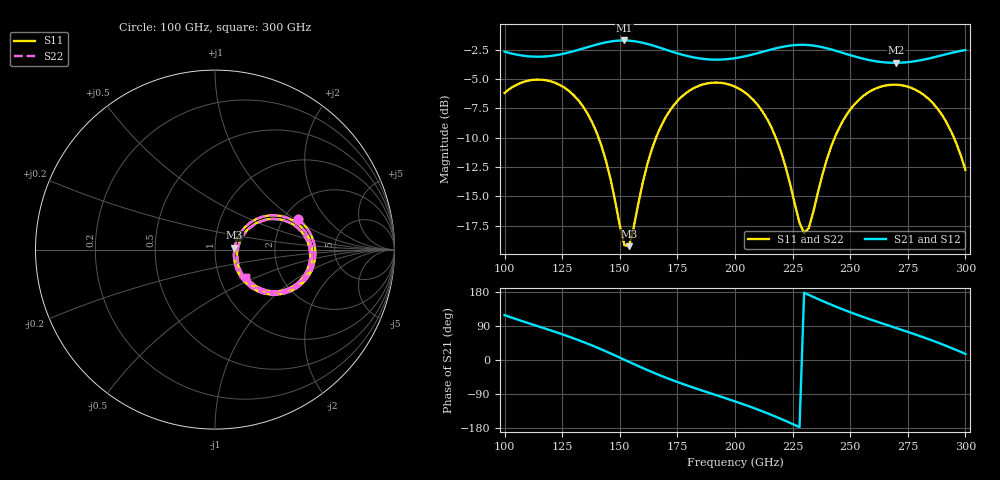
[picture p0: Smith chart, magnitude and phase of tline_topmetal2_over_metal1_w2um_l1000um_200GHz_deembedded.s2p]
! Created with skrf 2.2.0 (http://scikit-rf.org).
# GHz S DB R 50.0
! Port[1] = P1
! Port[2] = P2
!freq dBS11 angS11 dBS21 angS21 dBS12 angS12 dBS22 angS22
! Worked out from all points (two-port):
!   101 points, 100 GHz to 300 GHz, reference 50 ohm
!   highest |S21| = -1.70 dB at 152 GHz (marker M1); lowest = -3.6 dB at 270 GHz (marker M2)
!   |S21| within 3 dB of the highest: start of sweep to end of sweep
!   lowest |S11| = -19.3 dB at 154 GHz (marker M3), VSWR 1.24, Z = 62.2 + j1.27 ohm
!   |S11| at or under -10 dB: 140.8 GHz to 165.7 GHz (24.96 GHz wide, 16.3 % of centre); 217.7 GHz to 243.3 GHz (25.58 GHz wide, 11.1 % of centre); 295 GHz to end of sweep
!   |S22| runs from -19.3 to -5.0 dB; largest |S21 - S12| = 9e-14
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100  -6.18 20.3  -2.66 118.3  -2.66 118.3  -6.18 20.2
116  -5.05 -6.0  -3.09 86.1  -3.09 86.1  -5.05 -6.0
134  -7.32 -35.6  -2.39 47.9  -2.39 47.9  -7.32 -35.6
144  -11.97 -47.5  -1.86 22.7  -1.86 22.7  -11.97 -47.5
152  -19.17 -17.3  -1.70 0.7  -1.70 0.7  -19.16 -17.3
154  -19.26 5.3  -1.72 -4.9  -1.72 -4.9  -19.25 5.3
162  -12.23 37.4  -2.00 -26.7  -2.00 -26.7  -12.23 37.4
168  -8.97 32.3  -2.36 -41.8  -2.36 -41.8  -8.97 32.3
184  -5.60 7.6  -3.22 -77.1  -3.22 -77.1  -5.59 7.6
200  -5.64 -17.5  -3.22 -109.3  -3.22 -109.3  -5.64 -17.4
216  -9.21 -41.2  -2.46 -145.4  -2.46 -145.4  -9.19 -41.0
224  -14.02 -42.0  -2.14 -166.2  -2.14 -166.2  -13.97 -41.6
230  -18.13 -9.2  -2.08 177.4  -2.08 177.4  -17.98 -9.1
234  -16.33 21.4  -2.14 166.4  -2.14 166.4  -16.22 20.9
240  -11.77 32.8  -2.38 150.5  -2.38 150.5  -11.73 32.3
248  -8.17 25.9  -2.84 130.7  -2.84 130.7  -8.16 25.5
258  -6.12 11.3  -3.37 108.6  -3.37 108.6  -6.11 11.0
268  -5.48 -3.9  -3.61 88.2  -3.61 88.2  -5.48 -4.1
270  -5.48 -6.9  -3.61 84.2  -3.61 84.2  -5.48 -7.1
286  -7.07 -30.8  -3.16 50.5  -3.16 50.5  -7.07 -30.9
294  -9.54 -40.5  -2.76 31.5  -2.76 31.5  -9.52 -40.4
300  -12.74 -41.2  -2.53 16.1  -2.53 16.1  -12.70 -41.0
